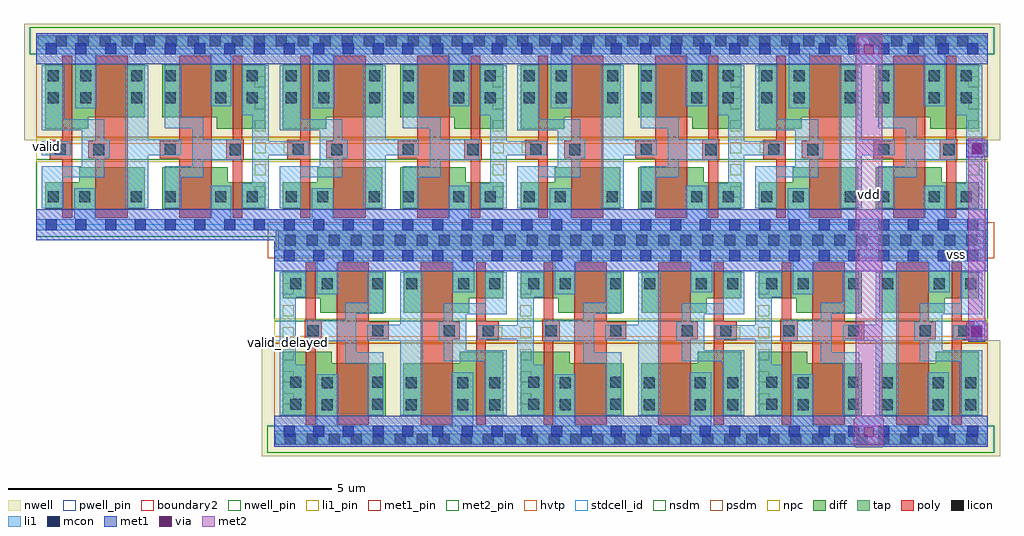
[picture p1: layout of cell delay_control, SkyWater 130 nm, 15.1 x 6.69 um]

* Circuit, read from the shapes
.subckt delay_control valid valid_delayed vdd vss
XM1 vss valid n1 vss sky130_fd_pr__nfet_01v8 w=0.42 l=0.15
XM2 n2 n1 vss vss sky130_fd_pr__nfet_01v8 w=0.65 l=0.5
XM3 vss n2 n3 vss sky130_fd_pr__nfet_01v8 w=0.65 l=0.5
XM4 sky130_fd_sc_hd__clkdlybuf4s50_1_2/A n3 vss vss sky130_fd_pr__nfet_01v8 w=0.42 l=0.15
XM5 vss sky130_fd_sc_hd__clkdlybuf4s50_1_2/A n4 vss sky130_fd_pr__nfet_01v8 w=0.42 l=0.15
XM6 vss n5 valid_delayed vss sky130_fd_pr__nfet_01v8 w=0.42 l=0.15
XM7 n6 n4 vss vss sky130_fd_pr__nfet_01v8 w=0.65 l=0.5
XM8 n5 n7 vss vss sky130_fd_pr__nfet_01v8 w=0.65 l=0.5
XM9 vss n6 n8 vss sky130_fd_pr__nfet_01v8 w=0.65 l=0.5
XM10 vss n9 n7 vss sky130_fd_pr__nfet_01v8 w=0.65 l=0.5
XM11 sky130_fd_sc_hd__clkdlybuf4s50_1_0/A n8 vss vss sky130_fd_pr__nfet_01v8 w=0.42 l=0.15
XM12 n9 sky130_fd_sc_hd__clkdlybuf4s50_1_3/A vss vss sky130_fd_pr__nfet_01v8 w=0.42 l=0.15
XM13 vss sky130_fd_sc_hd__clkdlybuf4s50_1_0/A n10 vss sky130_fd_pr__nfet_01v8 w=0.42 l=0.15
XM14 vss n11 sky130_fd_sc_hd__clkdlybuf4s50_1_3/A vss sky130_fd_pr__nfet_01v8 w=0.42 l=0.15
XM15 n12 n10 vss vss sky130_fd_pr__nfet_01v8 w=0.65 l=0.5
XM16 n11 n13 vss vss sky130_fd_pr__nfet_01v8 w=0.65 l=0.5
XM17 vss n12 n14 vss sky130_fd_pr__nfet_01v8 w=0.65 l=0.5
XM18 vss n15 n13 vss sky130_fd_pr__nfet_01v8 w=0.65 l=0.5
XM19 sky130_fd_sc_hd__clkdlybuf4s50_1_1/A n14 vss vss sky130_fd_pr__nfet_01v8 w=0.42 l=0.15
XM20 n15 sky130_fd_sc_hd__clkdlybuf4s50_1_5/A vss vss sky130_fd_pr__nfet_01v8 w=0.42 l=0.15
XM21 vss sky130_fd_sc_hd__clkdlybuf4s50_1_1/A n16 vss sky130_fd_pr__nfet_01v8 w=0.42 l=0.15
XM22 vss n17 sky130_fd_sc_hd__clkdlybuf4s50_1_5/A vss sky130_fd_pr__nfet_01v8 w=0.42 l=0.15
XM23 n18 n16 vss vss sky130_fd_pr__nfet_01v8 w=0.65 l=0.5
XM24 n17 n19 vss vss sky130_fd_pr__nfet_01v8 w=0.65 l=0.5
XM25 vss n18 n20 vss sky130_fd_pr__nfet_01v8 w=0.65 l=0.5
XM26 vss n21 n19 vss sky130_fd_pr__nfet_01v8 w=0.65 l=0.5
XM27 sky130_fd_sc_hd__clkdlybuf4s50_1_4/A n20 vss vss sky130_fd_pr__nfet_01v8 w=0.42 l=0.15
XM28 n21 sky130_fd_sc_hd__clkdlybuf4s50_1_4/A vss vss sky130_fd_pr__nfet_01v8 w=0.42 l=0.15
XM29 vdd valid n1 vdd sky130_fd_pr__pfet_01v8_hvt w=1 l=0.15
XM30 n2 n1 vdd vdd sky130_fd_pr__pfet_01v8_hvt w=0.82 l=0.5
XM31 vdd n2 n3 vdd sky130_fd_pr__pfet_01v8_hvt w=0.82 l=0.5
XM32 sky130_fd_sc_hd__clkdlybuf4s50_1_2/A n3 vdd vdd sky130_fd_pr__pfet_01v8_hvt w=1 l=0.15
XM33 vdd sky130_fd_sc_hd__clkdlybuf4s50_1_2/A n4 vdd sky130_fd_pr__pfet_01v8_hvt w=1 l=0.15
XM34 vdd n5 valid_delayed vdd sky130_fd_pr__pfet_01v8_hvt w=1 l=0.15
XM35 n6 n4 vdd vdd sky130_fd_pr__pfet_01v8_hvt w=0.82 l=0.5
XM36 n5 n7 vdd vdd sky130_fd_pr__pfet_01v8_hvt w=0.82 l=0.5
XM37 vdd n6 n8 vdd sky130_fd_pr__pfet_01v8_hvt w=0.82 l=0.5
XM38 vdd n9 n7 vdd sky130_fd_pr__pfet_01v8_hvt w=0.82 l=0.5
XM39 sky130_fd_sc_hd__clkdlybuf4s50_1_0/A n8 vdd vdd sky130_fd_pr__pfet_01v8_hvt w=1 l=0.15
XM40 n9 sky130_fd_sc_hd__clkdlybuf4s50_1_3/A vdd vdd sky130_fd_pr__pfet_01v8_hvt w=1 l=0.15
XM41 vdd sky130_fd_sc_hd__clkdlybuf4s50_1_0/A n10 vdd sky130_fd_pr__pfet_01v8_hvt w=1 l=0.15
XM42 vdd n11 sky130_fd_sc_hd__clkdlybuf4s50_1_3/A vdd sky130_fd_pr__pfet_01v8_hvt w=1 l=0.15
XM43 n12 n10 vdd vdd sky130_fd_pr__pfet_01v8_hvt w=0.82 l=0.5
XM44 n11 n13 vdd vdd sky130_fd_pr__pfet_01v8_hvt w=0.82 l=0.5
XM45 vdd n12 n14 vdd sky130_fd_pr__pfet_01v8_hvt w=0.82 l=0.5
XM46 vdd n15 n13 vdd sky130_fd_pr__pfet_01v8_hvt w=0.82 l=0.5
XM47 sky130_fd_sc_hd__clkdlybuf4s50_1_1/A n14 vdd vdd sky130_fd_pr__pfet_01v8_hvt w=1 l=0.15
XM48 n15 sky130_fd_sc_hd__clkdlybuf4s50_1_5/A vdd vdd sky130_fd_pr__pfet_01v8_hvt w=1 l=0.15
XM49 vdd sky130_fd_sc_hd__clkdlybuf4s50_1_1/A n16 vdd sky130_fd_pr__pfet_01v8_hvt w=1 l=0.15
XM50 vdd n17 sky130_fd_sc_hd__clkdlybuf4s50_1_5/A vdd sky130_fd_pr__pfet_01v8_hvt w=1 l=0.15
XM51 n18 n16 vdd vdd sky130_fd_pr__pfet_01v8_hvt w=0.82 l=0.5
XM52 n17 n19 vdd vdd sky130_fd_pr__pfet_01v8_hvt w=0.82 l=0.5
XM53 vdd n18 n20 vdd sky130_fd_pr__pfet_01v8_hvt w=0.82 l=0.5
XM54 vdd n21 n19 vdd sky130_fd_pr__pfet_01v8_hvt w=0.82 l=0.5
XM55 sky130_fd_sc_hd__clkdlybuf4s50_1_4/A n20 vdd vdd sky130_fd_pr__pfet_01v8_hvt w=1 l=0.15
XM56 n21 sky130_fd_sc_hd__clkdlybuf4s50_1_4/A vdd vdd sky130_fd_pr__pfet_01v8_hvt w=1 l=0.15
.ends

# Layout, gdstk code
from math import pi, radians
import gdstk
lib = gdstk.Library(unit=1e-6, precision=1e-09)
def R(c, l, rs):  # rectangles x0, y0, x1, y1
    for r in rs: c.add(gdstk.rectangle(r[:2], r[2:], *l))
def A(c, l, x, y, w, h, nx, ny, dx, dy):  # array of equal rectangles
    R(c, l, [(x+i*dx, y+j*dy, x+i*dx+w, y+j*dy+h) for i in range(nx) for j in range(ny)])
def P(c, l, *ps):  # polygons
    for p in ps: c.add(gdstk.Polygon(p, *l))
nwell_pin = (64, 16)
nwell = (64, 20)
diff = (65, 20)
tap = (65, 44)
poly = (66, 20)
licon = (66, 44)
li1_pin = (67, 16)
li1 = (67, 20)
mcon = (67, 44)
met1_pin = (68, 16)
met1 = (68, 20)
via = (68, 44)
met2_pin = (69, 16)
met2 = (69, 20)
hvtp = (78, 44)
stdcell_id = (81, 4)
nsdm = (93, 44)
psdm = (94, 20)
npc = (95, 20)
pwell_pin = (122, 16)
boundary2 = (236, 0)

sky130_fd_sc_hd__clkdlyb = lib.new_cell('sky130_fd_sc_hd__clkdlybuf4s50_1')
R(sky130_fd_sc_hd__clkdlyb, nwell_pin, [(0.15,2.635,0.32,2.805)])
R(sky130_fd_sc_hd__clkdlyb, nwell, [(-0.19,1.305,3.87,2.91)])
P(sky130_fd_sc_hd__clkdlyb, diff, [(1.95,0.235),(1.95,0.885),(2.965,0.885),(2.965,0.655),(3.545,0.655),(3.545,0.235)],
  [(2.79,1.485),(2.79,1.665),(1.95,1.665),(1.95,2.485),(3.545,2.485),(3.545,1.485)],
  [(0.135,1.485),(0.135,2.485),(1.68,2.485),(1.68,1.665),(0.805,1.665),(0.805,1.485)],
  [(0.135,0.235),(0.135,0.655),(0.665,0.655),(0.665,0.885),(1.675,0.885),(1.675,0.235)])
R(sky130_fd_sc_hd__clkdlyb, poly, [(0.205,1.015,0.405,1.025), (0.205,1.3,0.405,1.31)])
P(sky130_fd_sc_hd__clkdlyb, poly, [(3.04,0.105),(3.04,0.995),(2.94,0.995),(2.94,1.325),(3.04,1.325),(3.04,2.615),(3.19,2.615),(3.19,1.325),(3.21,1.325),(3.21,0.995),(3.19,0.995),(3.19,0.105)],
  [(2.215,0.105),(2.215,1.025),(1.91,1.025),(1.91,1.295),(2.215,1.295),(2.215,2.615),(2.715,2.615),(2.715,0.105)],
  [(0.915,0.105),(0.915,1.025),(0.805,1.025),(0.805,1.295),(0.915,1.295),(0.915,2.615),(1.415,2.615),(1.415,0.105)],
  [(0.405,0.105),(0.405,1.025),(0.205,1.025),(0.205,1.3),(0.405,1.3),(0.405,2.615),(0.555,2.615),(0.555,0.105)])
R(sky130_fd_sc_hd__clkdlyb, licon, [(0.18,0.35,0.35,0.52), (0.665,0.35,0.835,0.52), (1.465,0.35,1.635,0.52), (1.99,0.35,2.16,0.52), (2.77,0.35,2.94,0.52), (3.26,0.35,3.43,0.52), (0.285,1.075,0.455,1.245), (0.885,1.075,1.055,1.245), (1.99,1.075,2.16,1.245), (2.99,1.075,3.16,1.245), (1.99,1.875,2.16,2.045), (3.26,1.875,3.43,2.045), (0.18,1.88,0.35,2.05), (0.68,1.88,0.85,2.05), (1.47,1.88,1.64,2.05), (2.77,1.88,2.94,2.05), (1.99,2.215,2.16,2.385), (3.26,2.215,3.43,2.385), (0.18,2.22,0.35,2.39), (0.68,2.22,0.85,2.39), (1.47,2.22,1.64,2.39), (2.77,2.22,2.94,2.39)])
A(sky130_fd_sc_hd__clkdlyb, li1_pin, 3.38, 0.425, 0.17, 0.17, 1, 6, 0, 0.34)
R(sky130_fd_sc_hd__clkdlyb, li1_pin, [(0.15,1.105,0.32,1.275)])
R(sky130_fd_sc_hd__clkdlyb, li1, [(0.085,1.075,0.535,1.29)])
P(sky130_fd_sc_hd__clkdlyb, li1, [(1.38,0.255),(1.38,2.465),(1.73,2.465),(1.73,1.32),(2.24,1.32),(2.24,1.07),(1.73,1.07),(1.73,0.255)],
  [(3.19,0.255),(3.19,0.64),(3.345,0.64),(3.345,1.69),(3.19,1.69),(3.19,2.465),(3.595,2.465),(3.595,0.255)],
  [(1.99,0.255),(1.99,0.9),(2.41,0.9),(2.41,1.495),(1.99,1.495),(1.99,2.465),(2.24,2.465),(2.24,1.665),(2.58,1.665),(2.58,1.325),(3.175,1.325),(3.175,0.995),(2.58,0.995),(2.58,0.73),(2.24,0.73),(2.24,0.255)],
  [(0.6,1.8),(0.6,2.635),(0,2.635),(0,2.805),(3.68,2.805),(3.68,2.635),(3.02,2.635),(3.02,1.835),(2.69,1.835),(2.69,2.635),(0.93,2.635),(0.93,1.8)],
  [(0.085,0.255),(0.085,0.905),(0.705,0.905),(0.705,1.46),(0.085,1.46),(0.085,2.465),(0.43,2.465),(0.43,1.63),(1.055,1.63),(1.055,1.315),(1.135,1.315),(1.135,1.025),(1.055,1.025),(1.055,0.735),(0.415,0.735),(0.415,0.255)],
  [(0,-0.085),(0,0.085),(0.585,0.085),(0.585,0.565),(0.915,0.565),(0.915,0.085),(2.69,0.085),(2.69,0.6),(3.02,0.6),(3.02,0.085),(3.68,0.085),(3.68,-0.085)])
A(sky130_fd_sc_hd__clkdlyb, mcon, 0.145, -0.085, 0.17, 0.17, 8, 2, 0.46, 2.72)
R(sky130_fd_sc_hd__clkdlyb, met1_pin, [(0.15,-0.085,0.32,0.085), (0.15,2.635,0.32,2.805)])
R(sky130_fd_sc_hd__clkdlyb, hvtp, [(0,1.25,3.68,2.72)])
R(sky130_fd_sc_hd__clkdlyb, stdcell_id, [(0,0,3.68,2.72)])
R(sky130_fd_sc_hd__clkdlyb, nsdm, [(0,-0.19,3.68,1.015)])
R(sky130_fd_sc_hd__clkdlyb, psdm, [(0,1.355,3.68,2.91)])
R(sky130_fd_sc_hd__clkdlyb, npc, [(0,0.975,3.68,1.345)])
R(sky130_fd_sc_hd__clkdlyb, pwell_pin, [(0.15,-0.085,0.32,0.085)])
R(sky130_fd_sc_hd__clkdlyb, boundary2, [(0,0,3.68,2.72)])
sky130_fd_sc_hd__clkdlyb.add(gdstk.FlexPath([(0,0),(3.68,0)], 0.48, ends="flush", simple_path=True, layer=68, datatype=20))  # met1
sky130_fd_sc_hd__clkdlyb.add(gdstk.FlexPath([(0,2.72),(3.68,2.72)], 0.48, ends="flush", simple_path=True, layer=68, datatype=20))  # met1
sky130_fd_sc_hd__clkdlyb.add(gdstk.Label('X', (3.465,0.51), layer=67, texttype=5))
sky130_fd_sc_hd__clkdlyb.add(gdstk.Label('X', (3.465,0.85), layer=67, texttype=5))
sky130_fd_sc_hd__clkdlyb.add(gdstk.Label('X', (3.465,1.19), layer=67, texttype=5))
sky130_fd_sc_hd__clkdlyb.add(gdstk.Label('X', (3.465,1.53), layer=67, texttype=5))
sky130_fd_sc_hd__clkdlyb.add(gdstk.Label('X', (3.465,1.87), layer=67, texttype=5))
sky130_fd_sc_hd__clkdlyb.add(gdstk.Label('X', (3.465,2.21), layer=67, texttype=5))
sky130_fd_sc_hd__clkdlyb.add(gdstk.Label('A', (0.235,1.19), layer=67, texttype=5))
sky130_fd_sc_hd__clkdlyb.add(gdstk.Label('VPB', (0.235,2.72), layer=64, texttype=5))
sky130_fd_sc_hd__clkdlyb.add(gdstk.Label('VNB', (0.235,0), layer=64, texttype=59))
sky130_fd_sc_hd__clkdlyb.add(gdstk.Label('VPWR', (0.23,2.72), layer=68, texttype=5))
sky130_fd_sc_hd__clkdlyb.add(gdstk.Label('VGND', (0.23,0), layer=68, texttype=5))
sky130_fd_sc_hd__clkdlyb.add(gdstk.Label('clkdlybuf4s50_1', (0,0), layer=83, texttype=44))

delay_control = lib.new_cell('delay_control')
R(delay_control, nwell, [(-0.19,-3.585,11.23,-3.16), (-3.655,2.76,11.015,2.815), (-3.87,2.815,11.23,3.11)])
R(delay_control, tap, [(0.02,-3.405,11.015,-3.235), (0.025,-0.395,11.015,-0.085), (-3.655,2.76,11.015,2.93)])
A(delay_control, licon, 0.165, -3.405, 0.17, 0.17, 32, 2, 0.34, 3.08)
A(delay_control, licon, -3.375, 2.76, 0.17, 0.17, 42, 1, 0.34, 0)
R(delay_control, li1_pin, [(0.165,-1.875,0.265,-1.775), (-3.565,1.16,-3.465,1.26)])
R(delay_control, li1, [(0.02,-3.405,11.015,-3.235), (0.165,-1.875,0.265,-1.775), (3.505,-1.77,3.89,-1.555), (7.19,-1.77,7.575,-1.555), (10.785,-1.755,10.955,-1.555), (0.065,-0.395,10.975,-0.085), (10.765,1.01,10.955,1.075), (-0.18,1.075,0.17,1.29), (3.49,1.075,3.84,1.29), (7.245,1.075,7.48,1.29), (10.765,1.075,10.975,1.26), (-3.565,1.16,-3.465,1.26), (10.805,1.26,10.975,1.28), (-3.655,2.76,11.015,2.93)])
R(delay_control, mcon, [(10.785,-1.74,10.955,-1.57), (10.805,1.09,10.975,1.26)])
R(delay_control, met1_pin, [(10.51,-0.515,10.61,-0.415)])
R(delay_control, met1, [(8.995,-3.445,9.405,-2.975), (10.74,-1.815,11.005,-1.49), (10.51,-0.515,10.61,-0.415), (10.71,1.045,11.035,1.31), (8.965,2.51,9.435,2.92)])
R(delay_control, via, [(9.125,-3.285,9.275,-3.135), (10.795,-1.73,10.945,-1.58), (10.795,1.1,10.945,1.25), (9.125,2.64,9.275,2.79)])
R(delay_control, met2_pin, [(9.155,0.42,9.255,0.52)])
R(delay_control, met2, [(8.965,-3.415,9.435,-3.005), (8.995,-3.005,9.405,2.95), (10.71,-1.785,11.035,-1.52), (10.74,-1.52,11.005,1.34)])
R(delay_control, nsdm, [(-0.105,-3.53,11.14,-3.11), (-3.78,2.635,11.14,3.055)])
R(delay_control, psdm, [(-0.1,-0.52,11.14,0.04)])
delay_control.add(gdstk.Reference(sky130_fd_sc_hd__clkdlyb, (3.68,0)))
delay_control.add(gdstk.Reference(sky130_fd_sc_hd__clkdlyb, (7.36,0)))
delay_control.add(gdstk.Reference(sky130_fd_sc_hd__clkdlyb, (0,0)))
delay_control.add(gdstk.Reference(sky130_fd_sc_hd__clkdlyb, (3.68,-0.48), rotation=pi))
delay_control.add(gdstk.Reference(sky130_fd_sc_hd__clkdlyb, (11.04,-0.48), rotation=pi))
delay_control.add(gdstk.Reference(sky130_fd_sc_hd__clkdlyb, (7.36,-0.48), rotation=pi))
delay_control.add(gdstk.Reference(sky130_fd_sc_hd__clkdlyb, (-3.68,0)))
delay_control.add(gdstk.Label('valid_delayed', (0.215,-1.825), layer=67, texttype=5))
delay_control.add(gdstk.Label('valid', (-3.515,1.21), layer=67, texttype=5))
delay_control.add(gdstk.Label('vss', (10.56,-0.465), layer=68, texttype=5))
delay_control.add(gdstk.Label('vdd', (9.205,0.47), layer=69, texttype=5))

lib.write_gds('delay_control.gds')
